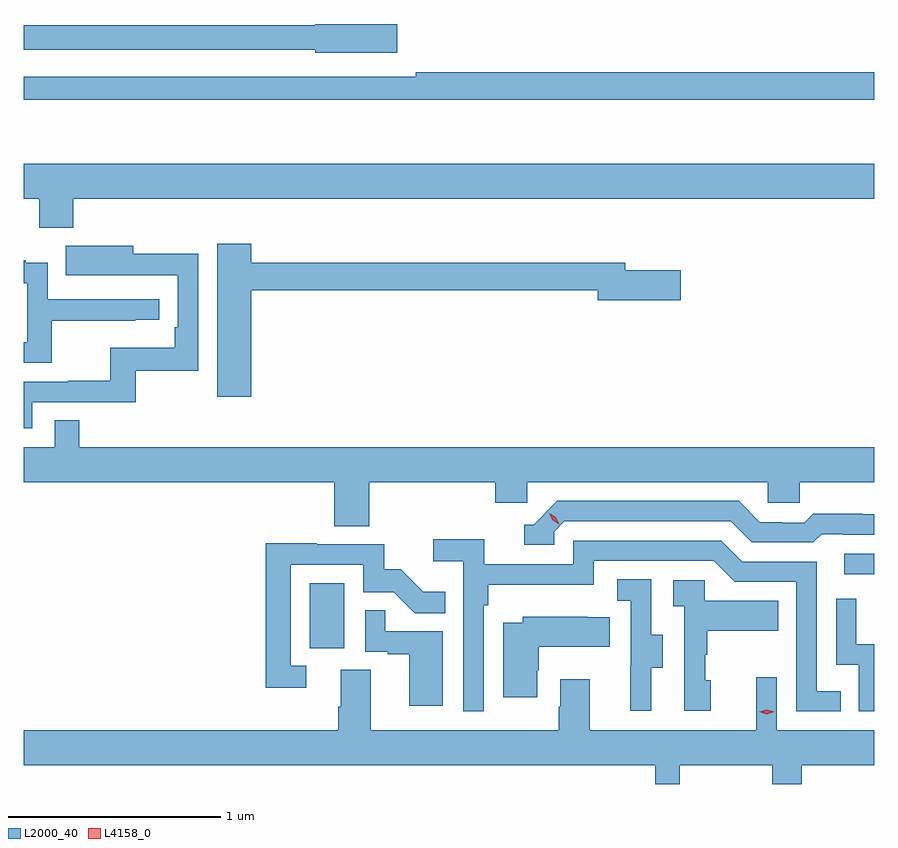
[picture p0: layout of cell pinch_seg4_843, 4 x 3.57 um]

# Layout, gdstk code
import gdstk
lib = gdstk.Library(unit=1e-6, precision=1e-09)
def R(c, l, rs):  # rectangles x0, y0, x1, y1
    for r in rs: c.add(gdstk.rectangle(r[:2], r[2:], *l))
def P(c, l, *ps):  # polygons
    for p in ps: c.add(gdstk.Polygon(p, *l))
L2000_40 = (2000, 40)
L4158_0 = (4158, 0)

pinch_seg4_843 = lib.new_cell('pinch_seg4_843')
R(pinch_seg4_843, L2000_40, [(857.294,796.038,857.458,796.345), (859.809,796.386,859.95,796.482)])
P(pinch_seg4_843, L2000_40, [(857.707,798.974),(857.322,798.974),(857.322,798.968),(855.95,798.968),(855.95,798.852),(857.322,798.852),(857.322,798.839),(857.707,798.839)],
  [(859.95,798.746),(857.794,798.746),(857.794,798.726),(855.95,798.726),(855.95,798.618),(859.95,798.618)],
  [(856.184,798.152),(859.95,798.152),(859.95,798.316),(855.95,798.316),(855.95,798.152),(856.024,798.152),(856.024,798.017),(856.184,798.017)],
  [(857.02,797.722),(858.65,797.722),(858.65,797.675),(859.039,797.675),(859.039,797.817),(858.778,797.817),(858.778,797.851),(857.02,797.851),(857.02,797.941),(856.859,797.941),(856.859,797.22),(857.02,797.22)],
  [(855.99,797.196),(856.477,797.196),(856.477,797.343),(856.77,797.343),(856.77,797.894),(856.465,797.894),(856.465,797.932),(856.147,797.932),(856.147,797.792),(856.361,797.792),(856.361,797.793),(856.674,797.793),(856.674,797.548),(856.661,797.548),(856.661,797.452),(856.356,797.452),(856.356,797.297),(856.159,797.297),(856.159,797.292),(855.95,797.292),(855.95,797.073),(855.99,797.073)],
  [(856.082,797.578),(856.475,797.578),(856.475,797.583),(856.588,797.583),(856.588,797.679),(856.062,797.679),(856.062,797.851),(855.959,797.851),(855.959,797.863),(855.95,797.863),(855.95,797.754),(855.966,797.754),(855.966,797.478),(855.95,797.478),(855.95,797.382),(856.082,797.382)],
  [(857.576,796.82),(858.167,796.82),(858.167,796.722),(858.318,796.722),(858.318,796.82),(859.449,796.82),(859.449,796.722),(859.599,796.722),(859.599,796.82),(859.95,796.82),(859.95,796.984),(856.211,796.984),(856.211,797.111),(856.095,797.111),(856.095,796.984),(855.95,796.984),(855.95,796.82),(857.411,796.82),(857.411,796.612),(857.576,796.612)],
  [(858.444,796.587),(858.492,796.635),(859.275,796.635),(859.374,796.536),(859.663,796.536),(859.702,796.575),(859.801,796.575),(859.801,796.572),(859.95,796.572),(859.95,796.669),(859.896,796.669),(859.896,796.672),(859.663,796.672),(859.621,796.629),(859.518,796.629),(859.518,796.632),(859.411,796.632),(859.312,796.731),(858.459,796.731),(858.348,796.62),(858.305,796.62),(858.305,796.524),(858.444,796.524)],
  [(858.114,796.241),(858.134,796.241),(858.134,796.337),(858.63,796.337),(858.63,796.449),(859.194,796.449),(859.293,796.35),(859.584,796.35),(859.584,795.741),(859.793,795.741),(859.793,795.837),(859.68,795.837),(859.68,796.446),(859.33,796.446),(859.231,796.545),(858.534,796.545),(858.534,796.434),(858.116,796.434),(858.116,796.55),(857.877,796.55),(857.877,796.448),(858.018,796.448),(858.018,795.741),(858.114,795.741)],
  [(857.278,795.957),(857.205,795.957),(857.205,796.431),(857.547,796.431),(857.547,796.302),(857.691,796.302),(857.789,796.204),(857.933,796.204),(857.933,796.303),(857.829,796.303),(857.722,796.41),(857.646,796.41),(857.646,796.527),(857.327,796.527),(857.327,796.532),(857.089,796.532),(857.089,795.852),(857.278,795.852)],
  [(858.901,795.946),(858.955,795.946),(858.955,796.101),(858.9,796.101),(858.9,796.364),(858.741,796.364),(858.741,796.261),(858.804,796.261),(858.804,795.957),(858.803,795.957),(858.803,795.744),(858.901,795.744)],
  [(859.18,795.888),(859.155,795.888),(859.155,796.007),(859.165,796.007),(859.165,796.121),(859.499,796.121),(859.499,796.261),(859.152,796.261),(859.152,796.359),(859.005,796.359),(859.005,796.235),(859.056,796.235),(859.056,795.744),(859.18,795.744)],
  [(859.95,796.058),(859.866,796.058),(859.866,796.27),(859.77,796.27),(859.77,795.96),(859.878,795.96),(859.878,795.741),(859.95,795.741)],
  [(857.92,796.119),(857.651,796.119),(857.651,796.217),(857.556,796.217),(857.556,796.023),(857.663,796.023),(857.663,796.011),(857.762,796.011),(857.762,795.768),(857.92,795.768)],
  [(858.364,795.935),(858.372,795.935),(858.372,796.046),(858.707,796.046),(858.707,796.183),(858.599,796.183),(858.599,796.186),(858.297,796.186),(858.297,796.159),(858.206,796.159),(858.206,795.807),(858.364,795.807)],
  [(859.035,795.488),(859.469,795.488),(859.469,795.4),(859.609,795.4),(859.609,795.488),(859.95,795.488),(859.95,795.652),(859.491,795.652),(859.491,795.901),(859.394,795.901),(859.394,795.652),(858.613,795.652),(858.613,795.892),(858.473,795.892),(858.473,795.764),(858.466,795.764),(858.466,795.652),(857.581,795.652),(857.581,795.938),(857.441,795.938),(857.441,795.764),(857.429,795.764),(857.429,795.652),(855.95,795.652),(855.95,795.488),(858.919,795.488),(858.919,795.4),(859.035,795.4)])
P(pinch_seg4_843, L4158_0, [(859.444,795.729),(859.408,795.739),(859.408,795.739),(859.408,795.74),(859.444,795.749),(859.479,795.74),(859.48,795.739),(859.479,795.739)],
  [(858.467,796.621),(858.437,796.64),(858.421,796.673),(858.421,796.673),(858.421,796.673),(858.452,796.654),(858.468,796.621),(858.468,796.621)])

lib.write_gds('pinch_seg4_843.gds')
